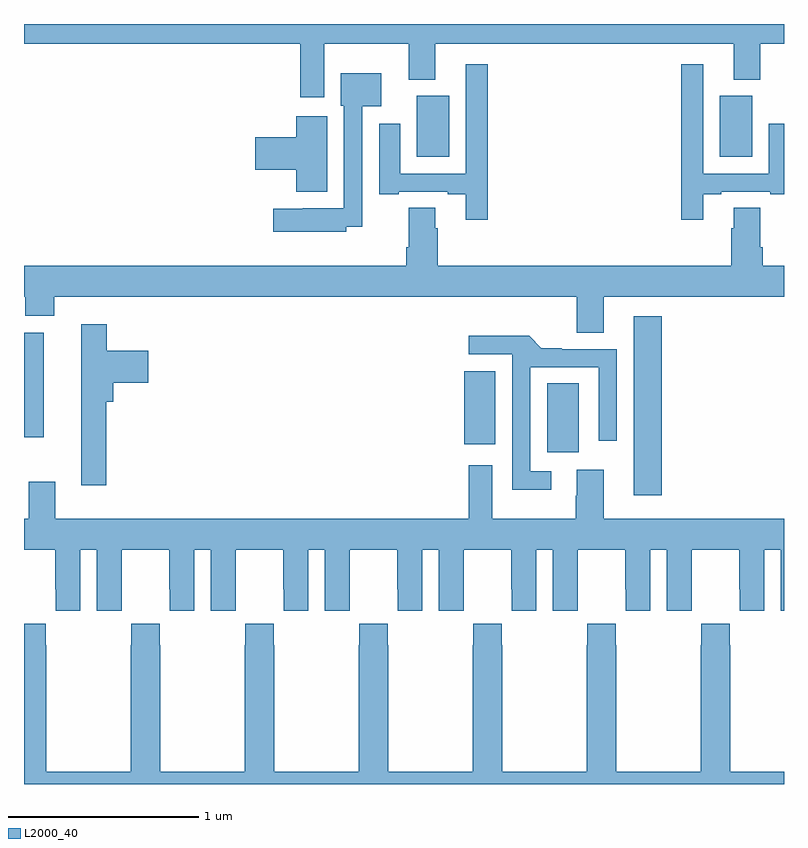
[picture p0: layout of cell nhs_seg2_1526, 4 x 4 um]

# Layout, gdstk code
import gdstk
lib = gdstk.Library(unit=1e-6, precision=1e-09)
def R(c, l, rs):  # rectangles x0, y0, x1, y1
    for r in rs: c.add(gdstk.rectangle(r[:2], r[2:], *l))
def P(c, l, *ps):  # polygons
    for p in ps: c.add(gdstk.Polygon(p, *l))
L2000_40 = (2000, 40)

nhs_seg2_1526 = lib.new_cell('nhs_seg2_1526')
R(nhs_seg2_1526, L2000_40, [(194.21,585.321,194.357,586.261), (193.754,585.546,193.921,585.908), (193.316,585.587,193.48,585.973), (191,585.624,191.104,586.176), (193.067,587.102,193.237,587.422), (194.663,587.102,194.833,587.422)])
P(nhs_seg2_1526, L2000_40, [(192.58,587.696),(193.025,587.696),(193.025,587.507),(193.165,587.507),(193.165,587.696),(194.735,587.696),(194.735,587.507),(194.875,587.507),(194.875,587.696),(195,587.696),(195,587.8),(191,587.8),(191,587.696),(192.455,587.696),(192.455,587.415),(192.58,587.415)],
  [(193.442,587.587),(193.326,587.587),(193.326,587.013),(192.979,587.013),(192.979,587.275),(192.869,587.275),(192.869,586.905),(192.973,586.905),(192.973,586.917),(193.229,586.917),(193.229,586.905),(193.325,586.905),(193.325,586.77),(193.442,586.77)],
  [(194.575,586.905),(194.671,586.905),(194.671,586.917),(194.927,586.917),(194.927,586.905),(195,586.905),(195,587.275),(194.921,587.275),(194.921,587.013),(194.574,587.013),(194.574,587.587),(194.458,587.587),(194.458,586.77),(194.575,586.77)],
  [(192.696,586.733),(192.78,586.733),(192.78,587.366),(192.88,587.366),(192.88,587.542),(192.668,587.542),(192.668,587.37),(192.684,587.37),(192.684,586.83),(192.468,586.83),(192.468,586.828),(192.312,586.828),(192.312,586.706),(192.696,586.706)],
  [(192.595,587.314),(192.434,587.314),(192.434,587.204),(192.216,587.204),(192.216,587.033),(192.434,587.033),(192.434,586.916),(192.595,586.916)],
  [(194.05,586.364),(195,586.364),(195,586.528),(194.888,586.528),(194.888,586.624),(194.875,586.624),(194.875,586.832),(194.735,586.832),(194.735,586.724),(194.723,586.724),(194.723,586.528),(193.178,586.528),(193.178,586.724),(193.165,586.724),(193.165,586.832),(193.025,586.832),(193.025,586.624),(193.013,586.624),(193.013,586.528),(191,586.528),(191,586.364),(191.006,586.364),(191.006,586.265),(191.159,586.265),(191.159,586.364),(193.91,586.364),(193.91,586.174),(194.05,586.174)],
  [(191.432,585.812),(191.471,585.812),(191.471,585.911),(191.653,585.911),(191.653,586.081),(191.435,586.081),(191.435,586.219),(191.3,586.219),(191.3,585.372),(191.432,585.372)],
  [(193.774,585.447),(193.665,585.447),(193.665,585.993),(194.025,585.993),(194.025,585.606),(194.121,585.606),(194.121,586.089),(193.831,586.089),(193.831,586.094),(193.723,586.094),(193.658,586.16),(193.341,586.16),(193.341,586.062),(193.569,586.062),(193.569,585.35),(193.774,585.35)],
  [(191.164,585.391),(191.024,585.391),(191.024,585.196),(191,585.196),(191,585.032),(191.165,585.032),(191.165,584.824),(191.166,584.824),(191.166,584.712),(191.296,584.712),(191.296,585.032),(191.384,585.032),(191.384,584.712),(191.514,584.712),(191.514,584.824),(191.515,584.824),(191.515,585.032),(191.765,585.032),(191.765,584.824),(191.766,584.824),(191.766,584.712),(191.896,584.712),(191.896,585.032),(191.984,585.032),(191.984,584.712),(192.114,584.712),(192.114,584.824),(192.115,584.824),(192.115,585.032),(192.365,585.032),(192.365,584.824),(192.366,584.824),(192.366,584.712),(192.496,584.712),(192.496,585.032),(192.584,585.032),(192.584,584.712),(192.714,584.712),(192.714,584.824),(192.715,584.824),(192.715,585.032),(192.965,585.032),(192.965,584.824),(192.966,584.824),(192.966,584.712),(193.096,584.712),(193.096,585.032),(193.184,585.032),(193.184,584.712),(193.314,584.712),(193.314,584.824),(193.315,584.824),(193.315,585.032),(193.565,585.032),(193.565,584.824),(193.566,584.824),(193.566,584.712),(193.696,584.712),(193.696,585.032),(193.784,585.032),(193.784,584.712),(193.914,584.712),(193.914,584.824),(193.915,584.824),(193.915,585.032),(194.165,585.032),(194.165,584.824),(194.166,584.824),(194.166,584.712),(194.296,584.712),(194.296,585.032),(194.384,585.032),(194.384,584.712),(194.514,584.712),(194.514,584.824),(194.515,584.824),(194.515,585.032),(194.765,585.032),(194.765,584.824),(194.766,584.824),(194.766,584.712),(194.896,584.712),(194.896,585.032),(194.984,585.032),(194.984,584.712),(195,584.712),(195,585.196),(194.05,585.196),(194.05,585.454),(193.91,585.454),(193.91,585.317),(193.903,585.317),(193.903,585.196),(193.465,585.196),(193.465,585.478),(193.34,585.478),(193.34,585.196),(191.164,585.196)],
  [(195,583.864),(194.718,583.864),(194.718,584.531),(194.715,584.531),(194.715,584.644),(194.565,584.644),(194.565,584.531),(194.563,584.531),(194.563,583.864),(194.118,583.864),(194.118,584.531),(194.115,584.531),(194.115,584.644),(193.965,584.644),(193.965,584.531),(193.963,584.531),(193.963,583.864),(193.518,583.864),(193.518,584.531),(193.515,584.531),(193.515,584.644),(193.365,584.644),(193.365,584.531),(193.363,584.531),(193.363,583.864),(192.918,583.864),(192.918,584.531),(192.915,584.531),(192.915,584.644),(192.765,584.644),(192.765,584.531),(192.763,584.531),(192.763,583.864),(192.318,583.864),(192.318,584.531),(192.315,584.531),(192.315,584.644),(192.165,584.644),(192.165,584.531),(192.163,584.531),(192.163,583.864),(191.718,583.864),(191.718,584.531),(191.715,584.531),(191.715,584.644),(191.565,584.644),(191.565,584.531),(191.563,584.531),(191.563,583.864),(191.118,583.864),(191.118,584.531),(191.115,584.531),(191.115,584.644),(191,584.644),(191,583.8),(195,583.8)])

lib.write_gds('nhs_seg2_1526.gds')
